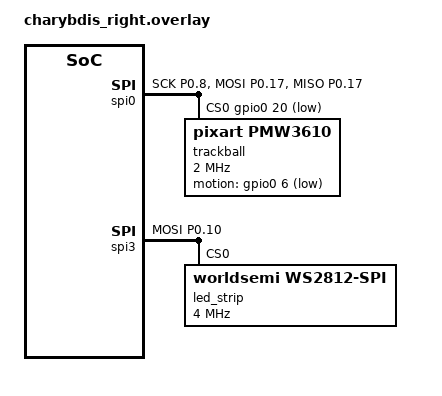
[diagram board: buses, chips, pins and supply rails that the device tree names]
/*
 * Copyright (c) 2020 ZMK Contributors
 *
 * SPDX-License-Identifier: MIT
 */
 
#include "charybdis.dtsi"
#include <zephyr/dt-bindings/input/input-event-codes.h>
// 注意：这里不要 include <input/processors.dtsi>。
// keymap（EXTRA_DTC_OVERLAY_FILE）已 include 它，二者在同一预处理单元，
// 重复 include（无 include guard）会导致 zip_* 节点重复定义。
// zip_xy_swap_mapper / zip_xy_to_scroll_mapper / zip_scroll_scaler
// 标签由 keymap 顶部的 #include <input/processors.dtsi> 提供。

&default_transform {
    col-offset = <6>;
}; 

&kscan0 {
	col-gpios
		= <&gpio0 2 (GPIO_ACTIVE_HIGH | GPIO_PULL_DOWN)>
		, <&gpio0 29 (GPIO_ACTIVE_HIGH | GPIO_PULL_DOWN)>
		, <&gpio0 9 (GPIO_ACTIVE_HIGH | GPIO_PULL_DOWN)>
		, <&gpio1 0  (GPIO_ACTIVE_HIGH | GPIO_PULL_DOWN)>
		, <&gpio0 11 (GPIO_ACTIVE_HIGH | GPIO_PULL_DOWN)>
		, <&gpio1 4  (GPIO_ACTIVE_HIGH | GPIO_PULL_DOWN)>
		;
};

// trackball bus
&pinctrl {
    spi0_default: spi0_default {
        group1 {
            psels = <NRF_PSEL(SPIM_SCK, 0, 8)>,
                <NRF_PSEL(SPIM_MOSI, 0, 17)>,
                <NRF_PSEL(SPIM_MISO, 0, 17)>;
        };
    };

    spi0_sleep: spi0_sleep {
        group1 {
            psels = <NRF_PSEL(SPIM_SCK, 0, 8)>,
                <NRF_PSEL(SPIM_MOSI, 0, 17)>,
                <NRF_PSEL(SPIM_MISO, 0, 17)>;
            low-power-enable;
        };
    };
};

&spi0 {
    status = "okay";
    compatible = "nordic,nrf-spim";
    pinctrl-0 = <&spi0_default>;
    pinctrl-1 = <&spi0_sleep>;
    pinctrl-names = "default", "sleep";
    cs-gpios = <&gpio0 20 GPIO_ACTIVE_LOW>;

    trackball: trackball@0 {
        status = "okay";
        compatible = "pixart,pmw3610";
        reg = <0>;
        spi-max-frequency = <2000000>;
        motion-gpios = <&gpio0 6 (GPIO_ACTIVE_LOW | GPIO_PULL_UP)>;
        zephyr,axis-x = <INPUT_REL_X>;
        zephyr,axis-y = <INPUT_REL_Y>;
        // 与原 PMW3610_CPI=400 等价
        res-cpi = <400>;
        // 与原 CONFIG_PMW3610_SMART_ALGORITHM=y 等价
        smart-mode;
        // 传感器 90° 安装 + X 反转（原 ORIENTATION_90 + INVERT_X）：
        // 驱动输出 x'=-raw_x、y'=-raw_y，再经 listener 的 X↔Y swap 得到
        // x=-raw_y、y=-raw_x，与原驱动方向处理完全一致
        invert-x;
        invert-y;
    };
};


//RGB bus
&pinctrl {
    spi3_default: spi3_default {
        group1 {
            psels = <NRF_PSEL(SPIM_MOSI, 0, 10)>;
        };
    };

    spi3_sleep: spi3_sleep {
        group1 {
            psels = <NRF_PSEL(SPIM_MOSI, 0, 10)>;
            low-power-enable;
        };
    };
};

&spi3 {
    compatible = "nordic,nrf-spim";
    status = "okay";

    pinctrl-0 = <&spi3_default>;
    pinctrl-1 = <&spi3_sleep>;
    pinctrl-names = "default", "sleep";

    led_strip: ws2812@0 {
        compatible = "worldsemi,ws2812-spi";

        /* SPI */
        reg = <0>; /* ignored, but necessary for SPI bindings */
        spi-max-frequency = <4000000>;

        /* WS2812 */
        chain-length = <27>; /* number of LEDs */
        spi-one-frame = <0x70>;
        spi-zero-frame = <0x40>;
        color-mapping = <LED_COLOR_ID_GREEN
                         LED_COLOR_ID_RED
                         LED_COLOR_ID_BLUE>;
    };
};







/ {
    /* 右半（peripheral）：轨迹球原始 input 事件经 split 转发到 dongle（central）。
     * 方向/滚动处理（zip_*）移到 dongle 的 input-listener。
     * 依赖 keymap 顶部 #include <input/processors.dtsi> 提供的 zip_* 标签。
     * 容器 #size-cells = 0，使 reg 只有 address cell（通道号）。 */
    input_splits {
        #address-cells = <1>;
        #size-cells = <0>;
        input_split: input_split {
            compatible = "zmk,input-split";
            reg = <0>;
            device = <&trackball>;
        };
    };
};
